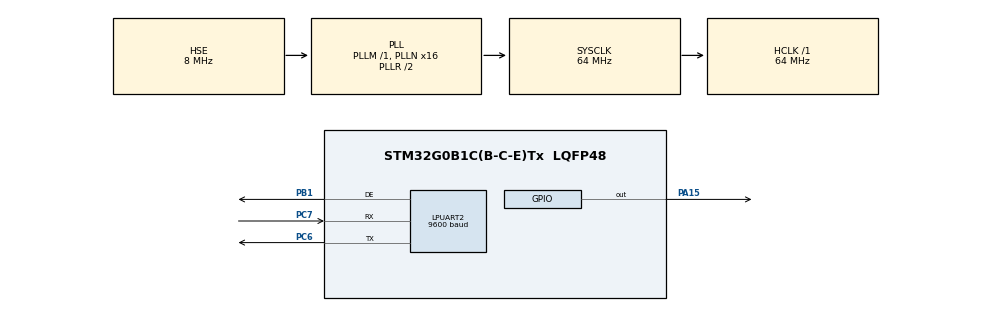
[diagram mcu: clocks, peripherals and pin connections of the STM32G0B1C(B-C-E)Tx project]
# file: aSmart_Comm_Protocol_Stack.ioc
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LPUART2.BaudRate=9600
LPUART2.ClockPrescaler=UART_PRESCALER_DIV4
LPUART2.WordLength=UART_WORDLENGTH_8B
Mcu.Family=STM32G0
Mcu.Name=STM32G0B1C(B-C-E)Tx
Mcu.Package=LQFP48
NVIC.USART2_LPUART2_IRQn=true\:0\:0\:false\:false\:true\:true\:true\:true
PA13.Mode=Serial_Wire
PA13.Signal=SYS_SWDIO
PA14-BOOT0.Mode=Serial_Wire
PA14-BOOT0.Signal=SYS_SWCLK
PA15.Signal=GPIO_Output
PB1.Mode=Hardware Flow Control (RS485)
PB1.Signal=LPUART2_DE
PC6.Mode=Asynchronous
PC6.Signal=LPUART2_TX
PC7.Mode=Asynchronous
PC7.Signal=LPUART2_RX
PF0-OSC_IN\ (PF0).Mode=HSE-External-Oscillator
PF0-OSC_IN\ (PF0).Signal=RCC_OSC_IN
PF1-OSC_OUT\ (PF1).Mode=HSE-External-Oscillator
PF1-OSC_OUT\ (PF1).Signal=RCC_OSC_OUT
ProjectManager.HeapSize=0x200
ProjectManager.StackSize=0x400
ProjectManager.TargetToolchain=MDK-ARM V5.32
RCC.ADCFreq_Value=64000000
RCC.AHBFreq_Value=64000000
RCC.CortexFreq_Value=64000000
RCC.EXTERNAL_CLOCK_VALUE=48000
RCC.HCLKFreq_Value=64000000
RCC.HSE_VALUE=8000000
RCC.HSI48_VALUE=48000000
RCC.HSI_VALUE=16000000
RCC.LPUART2CLockSelection=RCC_LPUART2CLKSOURCE_HSI
RCC.LSE_VALUE=32768
RCC.PLLN=16
RCC.PLLSourceVirtual=RCC_PLLSOURCE_HSE
RCC.SYSCLKFreq_VALUE=64000000
RCC.SYSCLKSource=RCC_SYSCLKSOURCE_PLLCLK
RCC.USBFreq_Value=48000000
RCC.VCOOutputFreq_Value=128000000
VP_SYS_VS_DBSignals.Mode=DisableDeadBatterySignals
board=custom

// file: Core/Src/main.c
/* USER CODE BEGIN Header */
/**
  ******************************************************************************
  * @file           : main.c
  * @brief          : Main program body
  ******************************************************************************
  * @attention
  *
  * Copyright (c) 2024 STMicroelectronics.
  * All rights reserved.
  *
  * This software is licensed under terms that can be found in the LICENSE file
  * in the root directory of this software component.
  * If no LICENSE file comes with this software, it is provided AS-IS.
  *
  ******************************************************************************
  */
/* USER CODE END Header */
#include "main.h"
#include "usart.h"
#include "gpio.h"

/* USER CODE BEGIN Includes */
#include "asmart_comm_handler.h"

/* USER CODE END Includes */

/* USER CODE BEGIN PTD */
uint8_t response_code = 0;
uint8_t payload_recv[100];
uint8_t command_flag = 0;
uint8_t notif_flag = 0;
aSmart_Comm_Handler_t comm_handler;

const uint8_t command_payload[4] = {0xaa,0xdd,0xcc,0xbb};

/* USER CODE END PTD */

void SystemClock_Config(void);
/* USER CODE BEGIN PFP */
void response_handler(uint8_t message_type, uint8_t command_type, uint16_t sequence_number, uint8_t* payload, uint16_t length);

/* USER CODE END PFP */

int main(void)
{

  /* MCU Configuration--------------------------------------------------------*/

  /* Reset of all peripherals, Initializes the Flash interface and the Systick. */
  HAL_Init();

  /* Configure the system clock */
  SystemClock_Config();

  /* Initialize all configured peripherals */
  MX_GPIO_Init();
  MX_LPUART2_UART_Init();
  /* USER CODE BEGIN 2 */

	MX_LPUART2_UART_Init();

  /* USER CODE END 2 */

  /* Infinite loop */
  /* USER CODE BEGIN WHILE */
	asmart_comm_init(&comm_handler, response_handler);

  while (1)
  {
		if(command_flag){
			asmart_comm_send_command(&comm_handler, COMMAND_TYPE_BEGIN_TRANSACTION,(uint8_t*)command_payload, 4);
			command_flag = 0;
		}
		if(notif_flag){
			asmart_comm_send_notification(&comm_handler, COMMAND_TYPE_BEGIN_TRANSACTION,(uint8_t*)command_payload, 4);
		}
		asmart_comm_handler(&comm_handler);
		HAL_Delay(50);
    /* USER CODE END WHILE */

  }
}

void SystemClock_Config(void)
{
  RCC_OscInitTypeDef RCC_OscInitStruct = {0};
  RCC_ClkInitTypeDef RCC_ClkInitStruct = {0};

  /** Configure the main internal regulator output voltage
  */
  HAL_PWREx_ControlVoltageScaling(PWR_REGULATOR_VOLTAGE_SCALE1);

  /** Initializes the RCC Oscillators according to the specified parameters
  * in the RCC_OscInitTypeDef structure.
  */
  RCC_OscInitStruct.OscillatorType = RCC_OSCILLATORTYPE_HSI|RCC_OSCILLATORTYPE_HSE;
  RCC_OscInitStruct.HSEState = RCC_HSE_ON;
  RCC_OscInitStruct.HSIState = RCC_HSI_ON;
  RCC_OscInitStruct.HSIDiv = RCC_HSI_DIV1;
  RCC_OscInitStruct.HSICalibrationValue = RCC_HSICALIBRATION_DEFAULT;
  RCC_OscInitStruct.PLL.PLLState = RCC_PLL_ON;
  RCC_OscInitStruct.PLL.PLLSource = RCC_PLLSOURCE_HSE;
  RCC_OscInitStruct.PLL.PLLM = RCC_PLLM_DIV1;
  RCC_OscInitStruct.PLL.PLLN = 16;
  RCC_OscInitStruct.PLL.PLLP = RCC_PLLP_DIV2;
  RCC_OscInitStruct.PLL.PLLQ = RCC_PLLQ_DIV2;
  RCC_OscInitStruct.PLL.PLLR = RCC_PLLR_DIV2;
  if (HAL_RCC_OscConfig(&RCC_OscInitStruct) != HAL_OK)
  {
    Error_Handler();
  }

  /** Initializes the CPU, AHB and APB buses clocks
  */
  RCC_ClkInitStruct.ClockType = RCC_CLOCKTYPE_HCLK|RCC_CLOCKTYPE_SYSCLK
                              |RCC_CLOCKTYPE_PCLK1;
  RCC_ClkInitStruct.SYSCLKSource = RCC_SYSCLKSOURCE_PLLCLK;
  RCC_ClkInitStruct.AHBCLKDivider = RCC_SYSCLK_DIV1;
  RCC_ClkInitStruct.APB1CLKDivider = RCC_HCLK_DIV1;

  if (HAL_RCC_ClockConfig(&RCC_ClkInitStruct, FLASH_LATENCY_2) != HAL_OK)
  {
    Error_Handler();
  }
}

/* USER CODE BEGIN 4 */
void response_handler(uint8_t message_type, uint8_t command_type, uint16_t sequence_number, uint8_t* payload, uint16_t length) {
    if (payload != NULL && length > 0) {
        // Process the message based on the message type and command type
        switch (message_type) {
            case MSG_TYPE_RESPONSE:
                // Handle responses
                switch (command_type) {
                    case COMMAND_TYPE_BEGIN_TRANSACTION:
												for(uint8_t i=0;i<length ;i++){
													payload_recv[i]= payload[i];
												}
                        // Handle begin transaction response
                        //printf("Received Response for Begin Transaction (Seq: %d): %.*s\n", sequence_number, length, payload);
                        break;
                    case COMMAND_TYPE_END_TRANSACTION:
                        // Handle end transaction response
                        //printf("Received Response for End Transaction (Seq: %d): %.*s\n", sequence_number, length, payload);
                        break;
                    // Add cases for other command types
                    default:
                        //printf("Received Response for Unknown Command (Type: 0x%02X, Seq: %d): %.*s\n", command_type, sequence_number, length, payload);
                        break;
                }
                break;
            case MSG_TYPE_COMMAND:
                // Handle incoming commands
                //printf("Received Command (Type: 0x%02X, Seq: %d): %.*s\n", command_type, sequence_number, length, payload);
                // Process the command and send a response
                // Example: Send a response back
                //HAL_GPIO_TogglePin(GPIOA,GPIO_PIN_15);
                asmart_comm_send_response(&comm_handler, sequence_number, command_type, (uint8_t*)command_payload, 4);
								for(uint8_t i=0;i<length ;i++){
									payload_recv[i]= payload[i];
								}
                break;
            case MSG_TYPE_NOTIFICATION:
								for(uint8_t i=0;i<length ;i++){
										payload_recv[i]= payload[i];
									}
                // Handle notifications
                //printf("Received Notification (Type: 0x%02X): %.*s\n", command_type, length, payload);
                break;
            case MSG_TYPE_ERROR:
                // Handle errors
                if (sequence_number != 0) {
                    // Error in response to a command
                    //printf("Received Error (Code: 0x%02X, Seq: %d): %.*s\n", command_type, sequence_number, length, payload);
                } else {
                    // Error notification
                    //printf("Received Error Notification (Code: 0x%02X): %.*s\n", command_type, length, payload);
                }
                break;
            default:
                //printf("Unknown Message Type (Type: 0x%02X, Seq: %d): %.*s\n", message_type, sequence_number, length, payload);
                break;
        }
    }
		else {
			HAL_GPIO_TogglePin(GPIOA,GPIO_PIN_15);
        // Handle timeout or error
        //printf("Timeout or Error Occurred (Message Type: 0x%02X, Command Type: 0x%02X, Seq: %d)\n", message_type, command_type, sequence_number);
    }
}

/* USER CODE END 4 */

void Error_Handler(void)
{
  __disable_irq();
  while (1)
  {
  }
}
